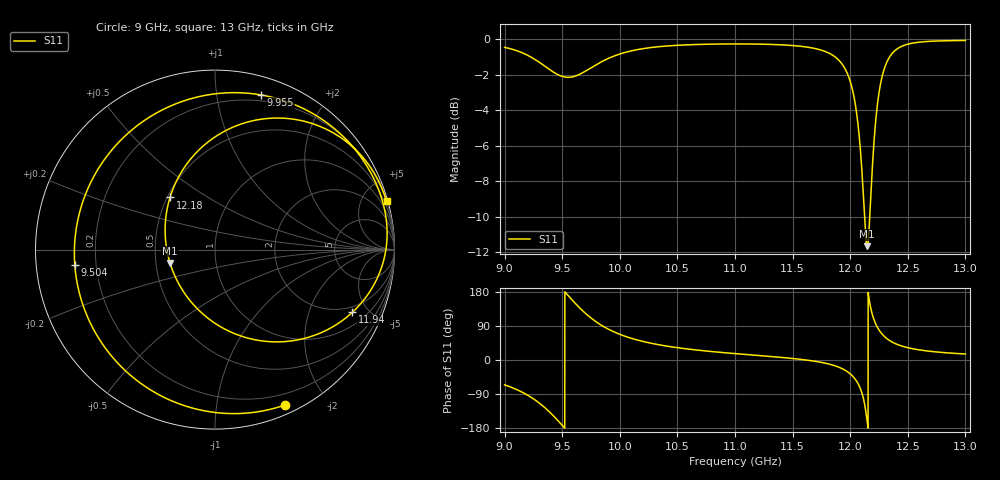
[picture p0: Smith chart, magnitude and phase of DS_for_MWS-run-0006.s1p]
! TOUCHSTONE file generated by CST DESIGN STUDIO
! Date and time: Tue Feb  4 17:09:40 2025
! Project name: C:\Work\MatlabApps\UnitCellOptimizationMatlab\CST\unitcell.cst
! Tree item: Tasks\Sweep1\SPara1\S-Parameters
! Header version: 2024
! Port assignment regex: !\s*Touchstone port\s*([0-9]+)\s*=\s*(CST MWS port|CST DES external port|CST DES block port)\s*(.+)\s* \(\"(.*)\"\)(\s*mode\s*([0-9]+))?.*
! Touchstone port assignment:
! Touchstone port 1 = CST DES external port 1 ("")
# GHz S MA R 50
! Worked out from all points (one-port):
!   4001 points, 9 GHz to 13 GHz, reference 50 ohm
!   lowest |S11| = -11.7 dB at 12.15 GHz (marker M1), VSWR 1.71, Z = 29.7 - j4.76 ohm
!   |S11| at or under -10 dB: 12.12489 GHz to 12.16969 GHz (44.79 MHz wide, 0.369 % of centre)
!   S11 on the Smith chart (normalised r, x): 9 GHz: 0.09, -1.55; 9.504 GHz: 0.12, -0.05; 9.955 GHz: 0.15, +1.33; 11.94 GHz: 1.65, -3.95; 12.18 GHz: 0.52, +0.35; 13 GHz: 0.18, +7.18
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9  0.9498 -65.6
9.165  0.9133 -86.9
9.282  0.8703 -109.3
9.385  0.8248 -135.7
9.5  0.7866 -172.3
9.504  0.7859 -173.7
9.598  0.7855 154.5
9.719  0.8202 118.6
9.824  0.8591 94.8
9.955  0.899 73.5
10  0.9097 67.8
10.216  0.9434 47.9
10.5  0.9626 32.5
11  0.9711 16.9
11.5  0.961 4.0
11.788  0.9233 -8.7
11.941  0.8416 -24.5
12  0.7619 -36.5
12.05  0.6392 -53.4
12.085  0.5045 -73.0
12.116  0.3561 -103.1
12.148  0.2615 -163.4
12.183  0.3837 130.8
12.226  0.6109 92.3
12.274  0.7784 69.4
12.367  0.9152 46.9
12.5  0.9696 32.5
13  0.9933 15.8
